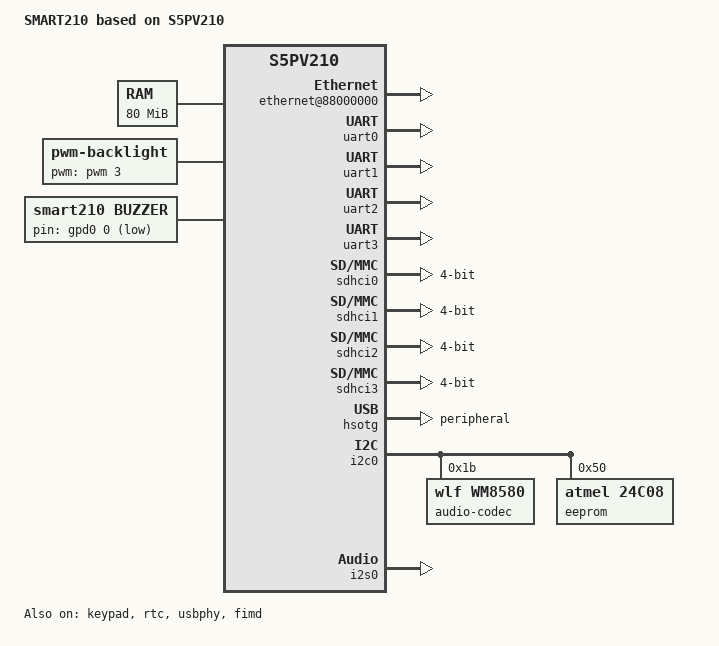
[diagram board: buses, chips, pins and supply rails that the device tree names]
// SPDX-License-Identifier: GPL-2.0
/*
 * Samsung's S5PV210 SoC device tree source
 *
 * Copyright (c) 2013-2014 Samsung Electronics, Co. Ltd.
 *
 * Mateusz Krawczuk <m.krawczuk@partner.samsung.com>
 * Tomasz Figa <t.figa@samsung.com>
 *
 * Board device tree source for YIC System SMDV210 board.
 *
 * NOTE: This file is completely based on original board file for mach-smdkv210
 * available in Linux 3.15 and intends to provide equivalent level of hardware
 * support. Due to lack of hardware, _no_ testing has been performed.
 */

/dts-v1/;
#include <dt-bindings/interrupt-controller/irq.h>
#include <dt-bindings/input/input.h>
#include <dt-bindings/pinctrl/samsung.h>

#include "s5pv210.dtsi"

/ {
	model = "SMART210 based on S5PV210";
	compatible = "samsung,smart210", "samsung,s5pv210";

	chosen {
		bootargs = "console=ttySAC0,115200n8 root=/dev/mmcblk0p5 rw rootwait ignore_loglevel earlyprintk";
	};

	memory@20000000 {
		device_type = "memory";
		reg = <0x20000000 0x05000000>;
	};

	ethernet@88000000 {  //修改DM9000
		compatible = "davicom,dm9000";
		reg = <0x88000000 0x2 0x88000004 0x2>;
		//网卡的中断引脚INT连接到SOC的XEINT7，XEINT7为gph0_7，所以第一个值为7
		//第二值：4   1 = low-to-high edge triggered，2 = high-to-low edge triggered，4 = active high level-sensitive，8 = active low level-sensitive
		interrupt-parent = <&gph0>;
		interrupts = <7 4>;
		local-mac-address = [1a 2a 3a 4a 5a 6a];
		davicom,no-eeprom;
		clocks = <&clocks CLK_SROMC>;
		clock-names = "sromc";
	};

	pmic_ap_clk: clock-0 {
		/* Workaround for missing PMIC and its clock */
		compatible = "fixed-clock";
		#clock-cells = <0>;
		clock-frequency = <32768>;
	};

	backlight {
		compatible = "pwm-backlight";
		pwms = <&pwm 3 5000000 0>;
		brightness-levels = <0 4 8 16 32 64 128 255>;
		default-brightness-level = <6>;
		pinctrl-names = "default";
		pinctrl-0 = <&pwm3_out>;
	};
	
	led: led {
		#address-cells = <1>;
		#size-cells = <1>;
		compatible = "s5pv210,led";
		/* 此处 pinctl 会在驱动pinctl加载时自动设置寄存器值，不需要在驱动中进行设置，但在此板卡中暂未生效，不知何原因。*/
		/* 可以正常加载了，需要使用 platform_driver 只有当设备树中的compatible与`platform_driver`中的`of_device_id`中的compatible匹配成功，则可使pinctrl生效 */
		pinctrl-name = "default";
		pinctrl-0 = <&led_pinctrl>;
		status = "okay";
		led-pin = <&gpj2 0 1>, <&gpj2 1 1>, <&gpj2 2 1>, <&gpj2 3 1>;
	};

	buzzer: buzzer {
		compatible = "smart210,buzzer";
		pinctrl-name = "default";
		pinctrl-0 = <&buzzer_pinctrl>;
		status = "okay";
		gpio-pin = <&gpd0 0 1>;
	};

	keys: keys {
		compatible = "smart210,keys";
		pinctrl-name = "default";
		pinctrl-0 = <&pinctrl_keys>;
		status="okay";
		button1 {
			gpio-pin = <&gph2 0 0>;
		};		
		
		button2 {
			gpio-pin = <&gph2 1 0>;
		};		
		
		button3 {
			gpio-pin = <&gph2 2 0>;
		};		
		
		button4 {
			gpio-pin = <&gph2 3 0>;
		};		
		
		button5 {
			gpio-pin = <&gph3 0 0>;
		};		
		
		button6 {
			gpio-pin = <&gph3 1 0>;
		};		
		
		button7 {
			gpio-pin = <&gph3 2 0>;
		};		
		
		button8 {
			gpio-pin = <&gph3 3 0>;
		};
	};
};

//必须重新设置xxti的时钟频率，不然会导致计时器卡死无法启动系统！！！
&xxti {
	clock-frequency = <24000000>;
};

&xusbxti {
	clock-frequency = <24000000>;
};

&keypad {
	linux,input-no-autorepeat;
	wakeup-source;
	samsung,keypad-num-rows = <8>;
	samsung,keypad-num-columns = <8>;
	pinctrl-names = "default";
	pinctrl-0 = <&keypad_row0>, <&keypad_row1>, <&keypad_row2>,
			<&keypad_row3>, <&keypad_row4>, <&keypad_row5>,
			<&keypad_row6>, <&keypad_row7>,
			<&keypad_col0>, <&keypad_col1>, <&keypad_col2>,
			<&keypad_col3>, <&keypad_col4>, <&keypad_col5>,
			<&keypad_col6>, <&keypad_col7>;
	status = "okay";

	key-1 {
		keypad,row = <0>;
		keypad,column = <3>;
		linux,code = <KEY_1>;
	};

	key-2 {
		keypad,row = <0>;
		keypad,column = <4>;
		linux,code = <KEY_2>;
	};

	key-3 {
		keypad,row = <0>;
		keypad,column = <5>;
		linux,code = <KEY_3>;
	};

	key-4 {
		keypad,row = <0>;
		keypad,column = <6>;
		linux,code = <KEY_4>;
	};

	key-5 {
		keypad,row = <0
		>;
		keypad,column = <7>;
		linux,code = <KEY_5>;
	};

	key-6 {
		keypad,row = <1>;
		keypad,column = <3>;
		linux,code = <KEY_A>;
	};
	key-7 {
		keypad,row = <1>;
		keypad,column = <4>;
		linux,code = <KEY_B>;
	};

	key-8 {
		keypad,row = <1>;
		keypad,column = <5>;
		linux,code = <KEY_C>;
	};

	key-9 {
		keypad,row = <1>;
		keypad,column = <6>;
		linux,code = <KEY_D>;
	};

	key-10 {
		keypad,row = <1>;
		keypad,column = <7>;
		linux,code = <KEY_E>;
	};
};


&uart0 {
	status = "okay";
};

&uart1 {
	status = "okay";
};

&uart2 {
	status = "okay";
};

&uart3 {
	status = "okay";
};

&rtc {
	status = "okay";
	clocks = <&clocks CLK_RTC>, <&pmic_ap_clk>;
	clock-names = "rtc", "rtc_src";
};

&sdhci0 {
	bus-width = <4>;
	pinctrl-0 = <&sd0_clk &sd0_cmd &sd0_cd &sd0_bus1 &sd0_bus4>;
	pinctrl-names = "default";
	status = "okay";
};

&sdhci1 {
	bus-width = <4>;
	pinctrl-0 = <&sd1_clk &sd1_cmd &sd1_cd &sd1_bus1 &sd1_bus4>;
	pinctrl-names = "default";
	status = "okay";
};

&sdhci2 {
	bus-width = <4>;
	pinctrl-0 = <&sd2_clk &sd2_cmd &sd2_cd &sd2_bus1 &sd2_bus4>;
	pinctrl-names = "default";
	status = "okay";
};

&sdhci3 {
	bus-width = <4>;
	pinctrl-0 = <&sd3_clk &sd3_cmd &sd3_cd &sd3_bus1 &sd3_bus4>;
	pinctrl-names = "default";
	status = "okay";
};

&hsotg {
	dr_mode = "peripheral";
	status = "okay";
};

&usbphy {
	status = "okay";
};


&fimd {
	pinctrl-0 = <&lcd_clk &lcd_data24>;
	pinctrl-names = "default";
	status = "okay";

	display-timings {
		native-mode = <&timing0>;

		timing0: timing {
			/* 800x480@60Hz */
			clock-frequency = <24373920>;
			hactive = <800>;
			vactive = <480>;
			hfront-porch = <8>;
			hback-porch = <13>;
			hsync-len = <3>;
			vback-porch = <7>;
			vfront-porch = <5>;
			vsync-len = <1>;
			hsync-active = <0>;
			vsync-active = <0>;
			de-active = <1>;
			pixelclk-active = <1>;
		};
	};
};

&pwm {
	samsung,pwm-outputs = <3>;
};

&i2c0 {
	status = "okay";

	audio-codec@1b {
		compatible = "wlf,wm8580";
		reg = <0x1b>;
	};

	eeprom@50 {
		compatible = "atmel,24c08";
		reg = <0x50>;
	};
};

&i2s0 {
	status = "okay";
};

&pinctrl0 {
	led_pinctrl: led_pinctrl {
		samsung,pins = "gpj2-0", "gpj2-1", "gpj2-2", "gpj2-3";
		samsung,pin-function = <EXYNOS_PIN_FUNC_OUTPUT>;
		samsung,pin-val = <1>;
		samsung,pin-pud = <S3C64XX_PIN_PULL_UP>;
		samsung,pin-drv = <EXYNOS4_PIN_DRV_LV1>;
	};

	buzzer_pinctrl: buzzer_pinctrl {
		samsung,pins = "gpd0-0";
		samsung,pin-function = <EXYNOS_PIN_FUNC_OUTPUT>;
		samsung,pin-val = <1>;
		samsung,pin-pud = <S3C64XX_PIN_PULL_UP>;
		samsung,pin-drv = <EXYNOS4_PIN_DRV_LV1>;
	};

	pinctrl_keys: keysgrp {
		samsung,pins = "gph2-0", "gph2-1", "gph2-2", "gph2-3", 
					   "gph3-0", "gph3-1", "gph3-2", "gph3-3";
		samsung,pin-function = <EXYNOS_PIN_FUNC_INPUT>;
		samsung,pin-pud = <S3C64XX_PIN_PULL_UP>;
		samsung,pin-drv = <EXYNOS4_PIN_DRV_LV1>;
	};
};
